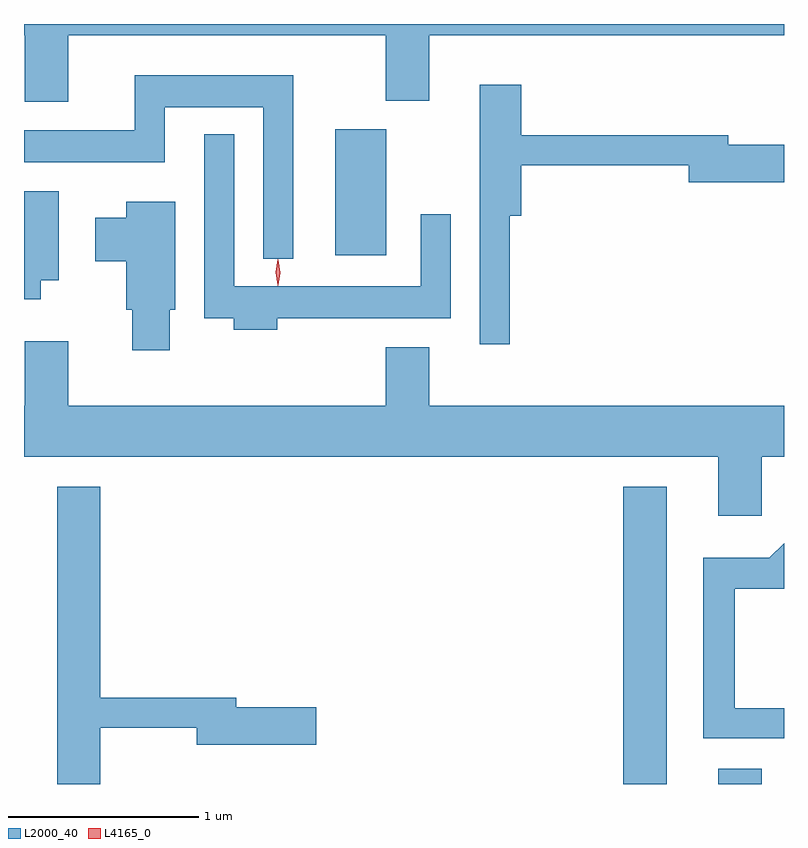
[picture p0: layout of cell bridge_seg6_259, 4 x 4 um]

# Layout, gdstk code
import gdstk
lib = gdstk.Library(unit=1e-6, precision=1e-09)
def R(c, l, rs):  # rectangles x0, y0, x1, y1
    for r in rs: c.add(gdstk.rectangle(r[:2], r[2:], *l))
def P(c, l, *ps):  # polygons
    for p in ps: c.add(gdstk.Polygon(p, *l))
L2000_40 = (2000, 40)
L4165_0 = (4165, 0)

bridge_seg6_259 = lib.new_cell('bridge_seg6_259')
R(bridge_seg6_259, L2000_40, [(1231.681,1594.934,1231.909,1596.499), (1232.181,1594.934,1232.409,1595.014), (1230.166,1597.716,1230.434,1598.379)])
P(bridge_seg6_259, L2000_40, [(1228.759,1598.876),(1230.431,1598.876),(1230.431,1598.531),(1230.659,1598.531),(1230.659,1598.876),(1232.527,1598.876),(1232.527,1598.934),(1228.527,1598.934),(1228.527,1598.876),(1228.531,1598.876),(1228.531,1598.526),(1228.759,1598.526)],
  [(1229.944,1598.664),(1229.111,1598.664),(1229.111,1598.374),(1228.527,1598.374),(1228.527,1598.206),(1229.269,1598.206),(1229.269,1598.496),(1229.786,1598.496),(1229.786,1597.698),(1229.944,1597.698)],
  [(1231.084,1597.926),(1231.144,1597.926),(1231.144,1598.191),(1232.026,1598.191),(1232.026,1598.101),(1232.527,1598.101),(1232.527,1598.299),(1232.234,1598.299),(1232.234,1598.349),(1231.144,1598.349),(1231.144,1598.614),(1230.926,1598.614),(1230.926,1597.248),(1231.084,1597.248)],
  [(1229.859,1597.386),(1230.774,1597.386),(1230.774,1597.933),(1230.616,1597.933),(1230.616,1597.554),(1229.634,1597.554),(1229.634,1598.353),(1229.476,1598.353),(1229.476,1597.386),(1229.631,1597.386),(1229.631,1597.326),(1229.859,1597.326)],
  [(1228.614,1597.586),(1228.709,1597.586),(1228.709,1598.054),(1228.527,1598.054),(1228.527,1597.486),(1228.614,1597.486)],
  [(1229.294,1597.431),(1229.324,1597.431),(1229.324,1597.999),(1229.066,1597.999),(1229.066,1597.914),(1228.901,1597.914),(1228.901,1597.686),(1229.066,1597.686),(1229.066,1597.431),(1229.096,1597.431),(1229.096,1597.216),(1229.294,1597.216)],
  [(1232.409,1596.656),(1232.527,1596.656),(1232.527,1596.924),(1230.659,1596.924),(1230.659,1597.234),(1230.431,1597.234),(1230.431,1596.924),(1228.759,1596.924),(1228.759,1597.264),(1228.531,1597.264),(1228.531,1596.924),(1228.527,1596.924),(1228.527,1596.656),(1232.181,1596.656),(1232.181,1596.346),(1232.409,1596.346)],
  [(1228.929,1595.231),(1229.436,1595.231),(1229.436,1595.141),(1230.064,1595.141),(1230.064,1595.339),(1229.644,1595.339),(1229.644,1595.389),(1228.929,1595.389),(1228.929,1596.499),(1228.701,1596.499),(1228.701,1594.934),(1228.929,1594.934)],
  [(1232.527,1595.334),(1232.269,1595.334),(1232.269,1595.961),(1232.527,1595.961),(1232.527,1596.202),(1232.449,1596.124),(1232.101,1596.124),(1232.101,1595.176),(1232.527,1595.176)])
P(bridge_seg6_259, L4165_0, [(1229.862,1597.557),(1229.862,1597.558),(1229.852,1597.627),(1229.862,1597.696),(1229.862,1597.696),(1229.863,1597.696),(1229.872,1597.627),(1229.863,1597.558)],
  [(1229.865,1597.559),(1229.864,1597.56),(1229.855,1597.626),(1229.864,1597.692),(1229.865,1597.693),(1229.866,1597.692),(1229.875,1597.626),(1229.866,1597.56)])

lib.write_gds('bridge_seg6_259.gds')
